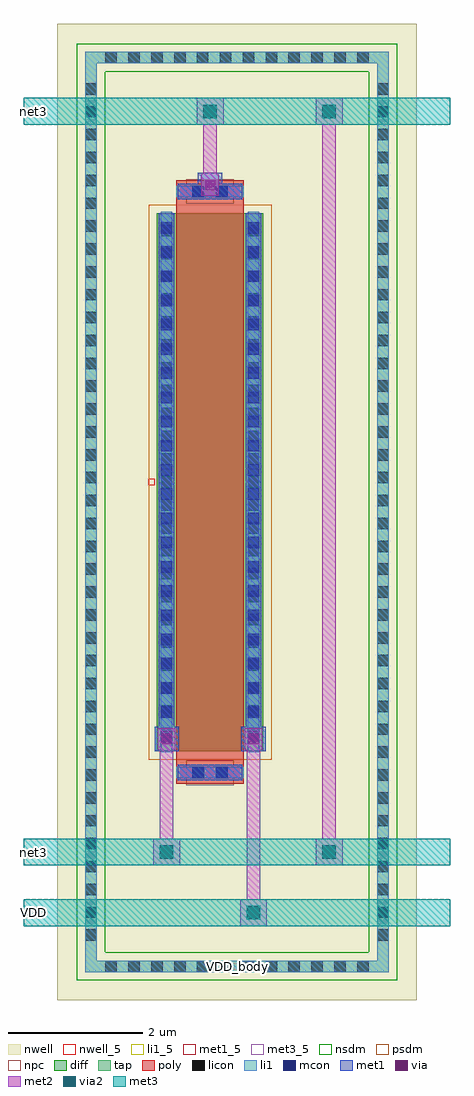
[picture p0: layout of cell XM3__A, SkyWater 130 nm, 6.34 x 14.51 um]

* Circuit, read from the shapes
.subckt XM3__A VDD VDD_body net3
XM1 VDD net3 net3 VDD_body sky130_fd_pr__pfet_01v8 w=8 l=1
.ends

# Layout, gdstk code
import gdstk
lib = gdstk.Library(unit=1e-6, precision=1e-09)
def R(c, l, rs):  # rectangles x0, y0, x1, y1
    for r in rs: c.add(gdstk.rectangle(r[:2], r[2:], *l))
def A(c, l, x, y, w, h, nx, ny, dx, dy):  # array of equal rectangles
    R(c, l, [(x+i*dx, y+j*dy, x+i*dx+w, y+j*dy+h) for i in range(nx) for j in range(ny)])
nwell_5 = (64, 5)
nwell = (64, 20)
diff = (65, 20)
tap = (65, 44)
poly = (66, 20)
licon = (66, 44)
li1_5 = (67, 5)
li1 = (67, 20)
mcon = (67, 44)
met1_5 = (68, 5)
met1 = (68, 20)
via = (68, 44)
met2 = (69, 20)
via2 = (69, 44)
met3_5 = (70, 5)
met3 = (70, 20)
nsdm = (93, 44)
psdm = (94, 20)
npc = (95, 20)

sky130_fd_pr__pfet_01v8_ = lib.new_cell('sky130_fd_pr__pfet_01v8_8HDVAE')
R(sky130_fd_pr__pfet_01v8_, nwell, [(-0.97,-4.5,0.97,4.5)])
R(sky130_fd_pr__pfet_01v8_, diff, [(-0.79,-4,0.79,4)])
R(sky130_fd_pr__pfet_01v8_, poly, [(-0.5,-4.485,0.5,4.485)])
A(sky130_fd_pr__pfet_01v8_, licon, -0.73, -3.825, 0.17, 0.17, 1, 23, 0, 0.34)
A(sky130_fd_pr__pfet_01v8_, licon, 0.56, -3.825, 0.17, 0.17, 1, 23, 0, 0.34)
R(sky130_fd_pr__pfet_01v8_, licon, [(-0.255,-4.405,-0.085,-4.235), (0.085,-4.405,0.255,-4.235), (-0.255,4.235,-0.085,4.405), (0.085,4.235,0.255,4.405)])
R(sky130_fd_pr__pfet_01v8_, li1, [(-0.5,-4.405,0.5,-4.235), (-0.73,-4.02,-0.56,4.02), (0.56,-4.02,0.73,4.02), (-0.5,4.235,0.5,4.405)])
A(sky130_fd_pr__pfet_01v8_, mcon, -0.73, -3.865, 0.17, 0.17, 1, 22, 0, 0.36)
A(sky130_fd_pr__pfet_01v8_, mcon, 0.56, -3.865, 0.17, 0.17, 1, 22, 0, 0.36)
R(sky130_fd_pr__pfet_01v8_, mcon, [(-0.265,-4.405,-0.095,-4.235), (0.095,-4.405,0.265,-4.235), (-0.265,4.235,-0.095,4.405), (0.095,4.235,0.265,4.405)])
R(sky130_fd_pr__pfet_01v8_, met1, [(-0.48,-4.435,0.48,-4.205), (-0.76,-4,-0.53,4), (0.53,-4,0.76,4), (-0.48,4.205,0.48,4.435)])
R(sky130_fd_pr__pfet_01v8_, psdm, [(-0.915,-4.125,0.915,4.125)])
R(sky130_fd_pr__pfet_01v8_, npc, [(-0.355,-4.505,0.355,-4.135), (-0.355,4.135,0.355,4.505)])
sky130_fd_pr__pfet_01v8_.add(gdstk.Label('D', (-0.645,0), layer=67, texttype=5))
sky130_fd_pr__pfet_01v8_.add(gdstk.Label('S', (0.645,0), layer=67, texttype=5))
sky130_fd_pr__pfet_01v8_.add(gdstk.Label('G', (0,4.32), layer=67, texttype=5))

pfet_01v8_w8_l1_m1__nf1_ = lib.new_cell('pfet_01v8_W8_L1_m1__nf1_gboth_sdfull_ng')
R(pfet_01v8_w8_l1_m1__nf1_, nwell_5, [(0.05,4.45,0.15,4.55)])
R(pfet_01v8_w8_l1_m1__nf1_, nwell, [(0.05,4.45,0.15,4.55)])
R(pfet_01v8_w8_l1_m1__nf1_, met1_5, [(0.21,4.5,0.44,4.7), (1.5,4.5,1.73,4.7), (0.49,8.705,1.45,8.935)])
R(pfet_01v8_w8_l1_m1__nf1_, met1, [(0.21,4.5,0.44,4.7), (1.5,4.5,1.73,4.7), (0.49,8.705,1.45,8.935)])
pfet_01v8_w8_l1_m1__nf1_.add(gdstk.Reference(sky130_fd_pr__pfet_01v8_, (0.97,4.5)))
pfet_01v8_w8_l1_m1__nf1_.add(gdstk.Label('D', (0.325,4.6), layer=68, texttype=5))
pfet_01v8_w8_l1_m1__nf1_.add(gdstk.Label('S', (1.615,4.6), layer=68, texttype=5))
pfet_01v8_w8_l1_m1__nf1_.add(gdstk.Label('G', (0.97,8.82), layer=68, texttype=5))
pfet_01v8_w8_l1_m1__nf1_.add(gdstk.Label('B', (0.1,4.5), layer=64, texttype=5))

xm3__a = lib.new_cell('XM3__A')
R(xm3__a, nwell, [(-1.3,-3.2,4.04,11.31)])
R(xm3__a, tap, [(-0.885,-2.785,3.625,-2.615), (-0.885,-2.615,-0.715,10.725), (3.455,-2.615,3.625,10.725), (-0.885,10.725,3.625,10.895)])
A(xm3__a, licon, -0.585, -2.785, 0.17, 0.17, 12, 2, 0.34, 13.51)
A(xm3__a, licon, -0.885, -2.32, 0.17, 0.17, 1, 38, 0, 0.34)
A(xm3__a, licon, 3.455, -2.32, 0.17, 0.17, 1, 38, 0, 0.34)
R(xm3__a, li1_5, [(1.32,-2.75,1.42,-2.65)])
R(xm3__a, li1, [(-0.885,-2.785,3.625,-2.615), (-0.885,-2.615,-0.715,10.725), (3.455,-2.615,3.625,10.725), (-0.885,10.725,3.625,10.895)])
R(xm3__a, met1, [(0.145,0.5,0.505,0.86), (1.435,0.5,1.795,0.86), (0.79,8.735,1.15,9.095)])
R(xm3__a, via, [(0.25,0.605,0.4,0.755), (1.54,0.605,1.69,0.755), (0.895,8.84,1.045,8.99)])
R(xm3__a, met2, [(1.415,-2.1,1.815,-1.7), (1.515,-1.7,1.715,0.52), (0.125,-1.2,0.525,-0.8), (2.54,-1.2,2.94,-0.8), (0.225,-0.8,0.425,0.52), (2.64,-0.8,2.84,9.81), (0.195,0.52,0.455,0.84), (1.485,0.52,1.745,0.84), (0.84,8.755,1.1,9.075), (0.87,9.075,1.07,9.81), (0.77,9.81,1.17,10.21), (2.54,9.81,2.94,10.21)])
R(xm3__a, via2, [(1.515,-2,1.715,-1.8), (0.225,-1.1,0.425,-0.9), (2.64,-1.1,2.84,-0.9), (0.87,9.91,1.07,10.11), (2.64,9.91,2.84,10.11)])
R(xm3__a, met3_5, [(-1.7,-1.95,-1.6,-1.85), (-1.7,-1.05,-1.6,-0.95), (-1.7,9.96,-1.6,10.06)])
R(xm3__a, met3, [(-1.8,-2.1,4.54,-1.7), (-1.8,-1.2,4.54,-0.8), (-1.8,9.81,4.54,10.21)])
R(xm3__a, nsdm, [(-1.01,-2.91,3.75,-2.49), (-1.01,-2.49,-0.59,10.6), (3.33,-2.49,3.75,10.6), (-1.01,10.6,3.75,11.02)])
xm3__a.add(gdstk.Reference(pfet_01v8_w8_l1_m1__nf1_, (0,0)))
xm3__a.add(gdstk.Label('net3', (-1.65,10.01), layer=70, texttype=5))
xm3__a.add(gdstk.Label('net3', (-1.65,-1), layer=70, texttype=5))
xm3__a.add(gdstk.Label('VDD', (-1.65,-1.9), layer=70, texttype=5))
xm3__a.add(gdstk.Label('VDD_body', (1.37,-2.7), layer=67, texttype=5))

lib.write_gds('XM3__A.gds')
